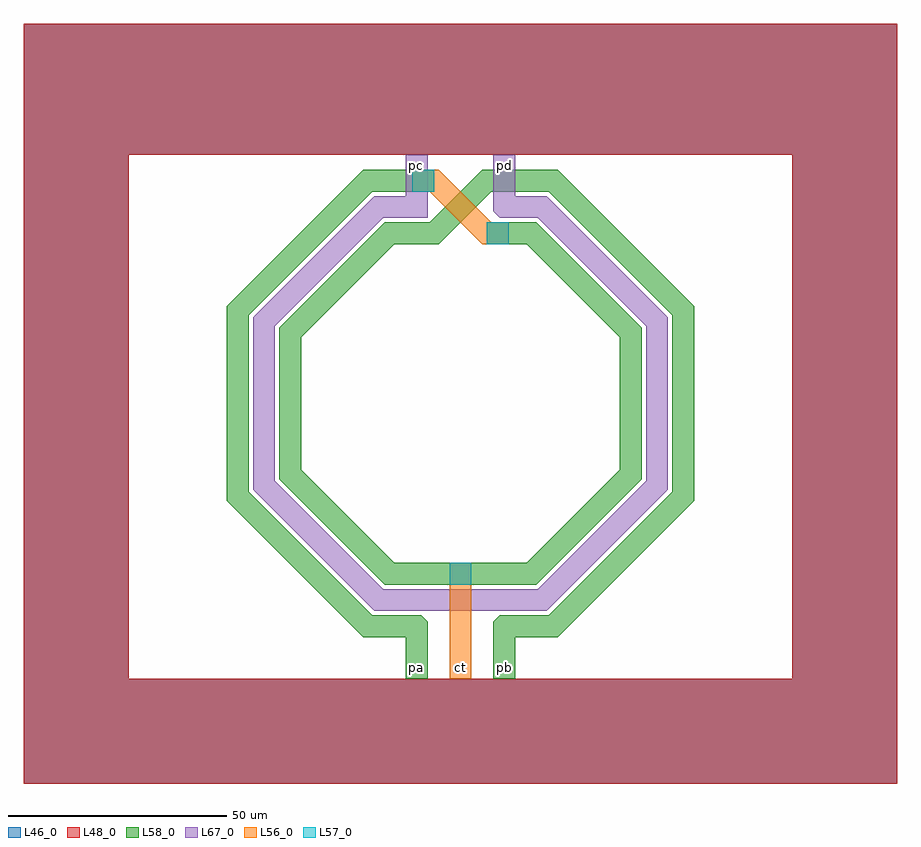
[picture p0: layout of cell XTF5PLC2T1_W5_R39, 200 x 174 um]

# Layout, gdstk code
import gdstk
lib = gdstk.Library(unit=1e-6, precision=1e-09)
def R(c, l, rs):  # rectangles x0, y0, x1, y1
    for r in rs: c.add(gdstk.rectangle(r[:2], r[2:], *l))
def P(c, l, *ps):  # polygons
    for p in ps: c.add(gdstk.Polygon(p, *l))
L46_0 = (46, 0)
L48_0 = (48, 0)
L56_0 = (56, 0)
L57_0 = (57, 0)
L58_0 = (58, 0)
L67_0 = (67, 0)

xtf5plc2t1_w5_r39 = lib.new_cell('XTF5PLC2T1_W5_R39')
P(xtf5plc2t1_w5_r39, L46_0, [(100,-87),(-100,-87),(-100,87),(76,87),(76,57),(-76,57),(-76,-63),(76,-63),(76,87),(100,87)])
P(xtf5plc2t1_w5_r39, L48_0, [(100,-87),(-100,-87),(-100,87),(76,87),(76,57),(-76,57),(-76,-63),(76,-63),(76,87),(100,87)])
R(xtf5plc2t1_w5_r39, L56_0, [(-2.5,-63,2.5,-36.5), (-2.5,-63,2.5,-58)])
P(xtf5plc2t1_w5_r39, L56_0, [(11,36.5),(4.965,36.5),(-7.035,48.5),(-11,48.5),(-11,53.5),(-4.965,53.5),(7.035,41.5),(11,41.5)])
R(xtf5plc2t1_w5_r39, L57_0, [(-2.5,-41.5,2.5,-36.5), (6,36.5,11,41.5), (-11,48.5,-6,53.5)])
R(xtf5plc2t1_w5_r39, L58_0, [(-12.5,-63,-7.5,-58), (7.5,-63,12.5,-58)])
P(xtf5plc2t1_w5_r39, L58_0, [(-6,48.5),(-20.22,48.5),(-48.5,20.22),(-48.5,-20.22),(-20.22,-48.5),(-8.965,-48.5),(-7.5,-49.965),(-7.5,-63),(-12.5,-63),(-12.5,-53.5),(-22.29,-53.5),(-53.5,-22.29),(-53.5,22.29),(-22.29,53.5),(-6,53.5)],
  [(53.5,-22.29),(22.29,-53.5),(12.5,-53.5),(12.5,-63),(7.5,-63),(7.5,-49.965),(8.965,-48.5),(20.22,-48.5),(48.5,-20.22),(48.5,20.22),(20.22,48.5),(7.035,48.5),(-4.965,36.5),(-15.22,36.5),(-36.5,15.22),(-36.5,-15.22),(-15.22,-36.5),(15.22,-36.5),(36.5,-15.22),(36.5,15.22),(15.22,36.5),(6,36.5),(6,41.5),(17.29,41.5),(41.5,17.29),(41.5,-17.29),(17.29,-41.5),(-17.29,-41.5),(-41.5,-17.29),(-41.5,17.29),(-17.29,41.5),(-7.035,41.5),(4.965,53.5),(22.29,53.5),(53.5,22.29)])
R(xtf5plc2t1_w5_r39, L67_0, [(-12.5,52,-7.5,57), (7.5,52,12.5,57)])
P(xtf5plc2t1_w5_r39, L67_0, [(47.5,-19.79),(19.79,-47.5),(-19.79,-47.5),(-47.5,-19.79),(-47.5,19.79),(-19.79,47.5),(-12.5,47.5),(-12.5,57),(-7.5,57),(-7.5,42.5),(-17.72,42.5),(-42.5,17.72),(-42.5,-17.72),(-17.72,-42.5),(17.72,-42.5),(42.5,-17.72),(42.5,17.72),(17.72,42.5),(8.965,42.5),(7.5,43.965),(7.5,57),(12.5,57),(12.5,47.5),(19.79,47.5),(47.5,19.79)])
xtf5plc2t1_w5_r39.add(gdstk.Label('pb', (10,-60.5), layer=58, texttype=0))
xtf5plc2t1_w5_r39.add(gdstk.Label('pa', (-10,-60.5), layer=58, texttype=0))
xtf5plc2t1_w5_r39.add(gdstk.Label('pd', (10,54.5), layer=67, texttype=0))
xtf5plc2t1_w5_r39.add(gdstk.Label('pc', (-10,54.5), layer=67, texttype=0))
xtf5plc2t1_w5_r39.add(gdstk.Label('ct', (0,-60.5), layer=56, texttype=0))

lib.write_gds('XTF5PLC2T1_W5_R39.gds')
